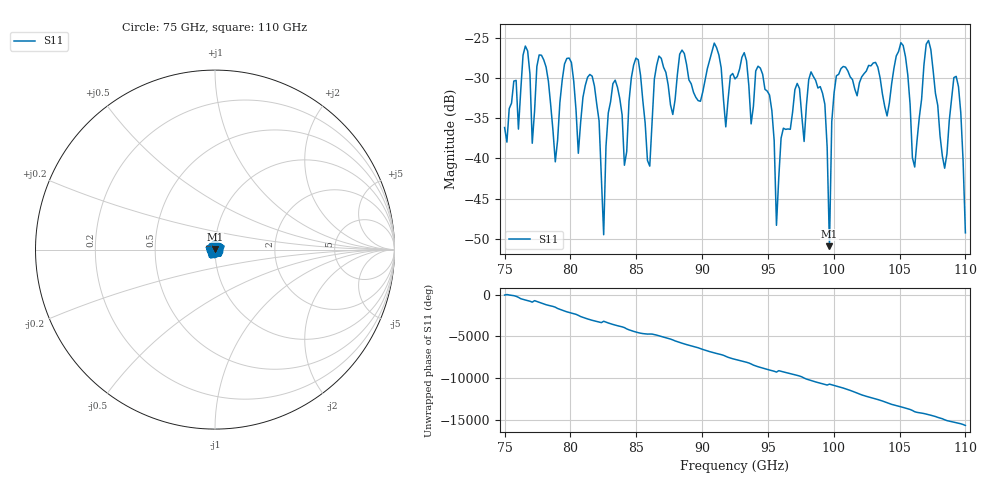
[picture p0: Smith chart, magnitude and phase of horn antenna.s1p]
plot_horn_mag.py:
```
import pylab
import mwavepy as mv 

# create a Network type from a touchstone file of a horn antenna
horn = mv.Network('horn antenna.s1p')

# plot magnitude (in db) of S11
pylab.figure(1)
pylab.title('Return Loss (Mag)')
horn.plot_s_db(m=0,n=0) # m,n are S-Matrix indecies


# show the plots 
pylab.show()
```
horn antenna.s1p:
!Created with mwavepy.
# GHz S RI R 50.0
!freq	ReS11	ImS11
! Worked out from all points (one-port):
!   201 points, 75 GHz to 110 GHz, reference 50 ohm
!   lowest |S11| = -50.9 dB at 99.67 GHz (marker M1), VSWR 1.01, Z = 50 + j0.283 ohm
!   |S11| at or under -10 dB: start of sweep to end of sweep
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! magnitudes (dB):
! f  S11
! 75 GHz  -36.2
! 81.65 GHz  -29.8
! 82.52 GHz  -49.5
! 83.22 GHz  -30.7
! 86.72 GHz  -27.3
! 94.42 GHz  -28.8
! 95.65 GHz  -48.3
! 98.45 GHz  -29.8
! 99.67 GHz  -50.9
! 100.2 GHz  -29.7
! 105.1 GHz  -25.6
! 106.1 GHz  -41.1
! 109.3 GHz  -29.8
! 110 GHz  -49.3
